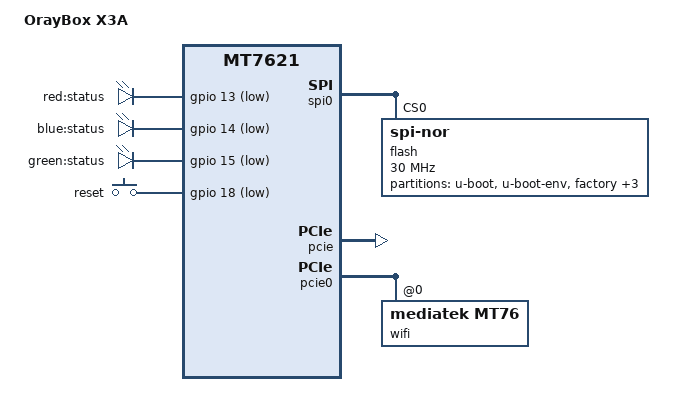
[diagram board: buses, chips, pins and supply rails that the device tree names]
// SPDX-License-Identifier: GPL-2.0-or-later OR MIT

#include "mt7621.dtsi"

#include <dt-bindings/gpio/gpio.h>
#include <dt-bindings/input/input.h>

/ {
	compatible = "oraybox,x3a", "mediatek,mt7621-soc";
	model = "OrayBox X3A";

	aliases {
		led-boot = &led_status_green;
		led-failsafe = &led_status_red;
		led-running = &led_status_blue;
		led-upgrade = &led_status_green;
		label-mac-device = &gmac0;
	};

	chosen {
		bootargs = "console=ttyS0,115200";
	};

	leds {
		compatible = "gpio-leds";

		led_status_red: status-red {
			label = "red:status";
			gpios = <&gpio 13 GPIO_ACTIVE_LOW>;
		};

		led_status_blue: status-blue {
			label = "blue:status";
			gpios = <&gpio 14 GPIO_ACTIVE_LOW>;
		};

		led_status_green: status-green {
			label = "green:status";
			gpios = <&gpio 15 GPIO_ACTIVE_LOW>;
		};
	};

	keys {
		compatible = "gpio-keys";

		reset {
			label = "reset";
			gpios = <&gpio 18 GPIO_ACTIVE_LOW>;
			linux,code = <KEY_RESTART>;
		};
	};
};

&spi0 {
	status = "okay";

	flash@0 {
		compatible = "jedec,spi-nor";
		reg = <0>;
		spi-max-frequency = <30000000>;

		partitions {
			compatible = "fixed-partitions";
			#address-cells = <1>;
			#size-cells = <1>;

			partition@0 {
				label = "u-boot";
				reg = <0x0 0x30000>;
				read-only;
			};

			partition@30000 {
				label = "u-boot-env";
				reg = <0x30000 0x10000>;
				read-only;
			};

			factory: partition@40000 {
				label = "factory";
				reg = <0x40000 0x10000>;
				read-only;
			};

			partition@50000 {
				compatible = "denx,uimage";
				label = "firmware";
				reg = <0x50000 0xf00000>;
			};

			partition@fe0000 {
				label = "bdinfo";
				reg = <0xfe0000 0x10000>;
				read-only;

				compatible = "nvmem-cells";
				#address-cells = <1>;
				#size-cells = <1>;

				macaddr_bdinfo_9: macaddr@9 {
					reg = <0x9 0x6>;
				};
			};

			partition@ff0000 {
				label = "reserve";
				reg = <0xff0000 0x10000>;
				read-only;
			};
		};
	};
};

&pcie {
	status = "okay";
};

&pcie0 {
	wifi@0,0 {
		compatible = "mediatek,mt76";
		reg = <0x0000 0 0 0 0>;
		mediatek,mtd-eeprom = <&factory 0x0>;
	};
};

&gmac0 {
	nvmem-cells = <&macaddr_bdinfo_9>;
	nvmem-cell-names = "mac-address";
};

&switch0 {
	ports {		
		port@2 {
			status = "okay";
			label = "lan2";
		};

		port@3 {
			status = "okay";
			label = "lan1";
		};

		port@4 {
			status = "okay";
			label = "wan";
			nvmem-cells = <&macaddr_bdinfo_9>;
			nvmem-cell-names = "mac-address";
			mac-address-increment = <1>;
		};
	};
};

&state_default {
	gpio {
		groups = "jtag", "wdt";
		function = "gpio";
	};
};
